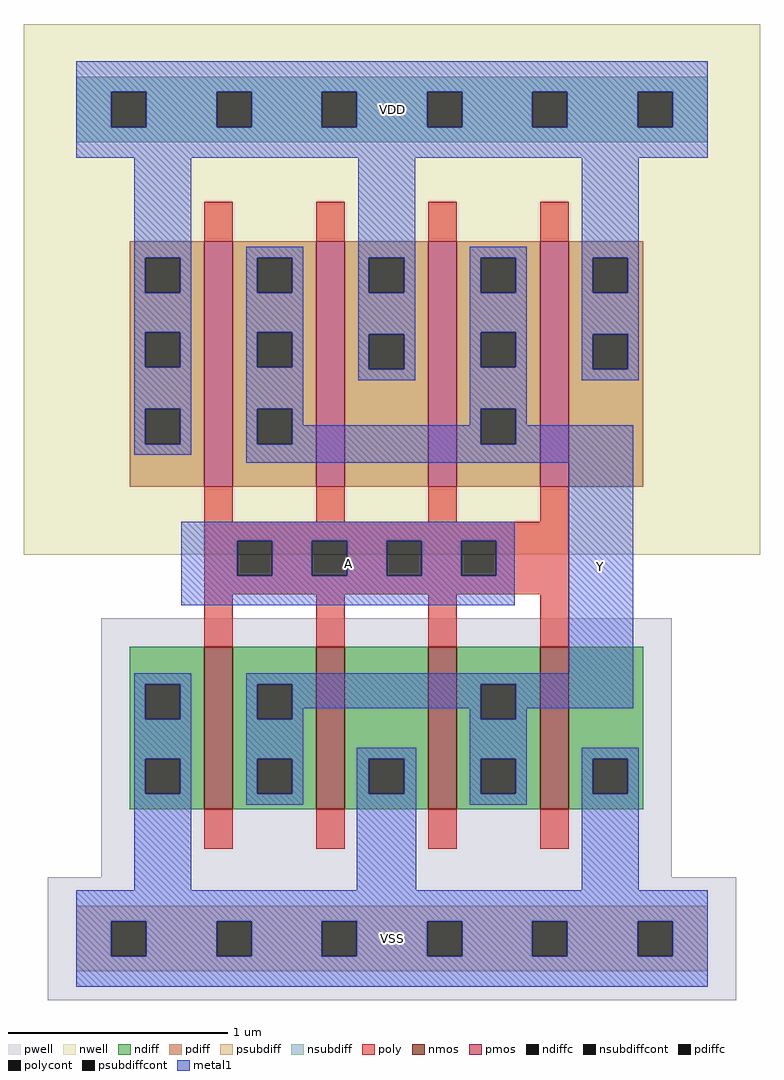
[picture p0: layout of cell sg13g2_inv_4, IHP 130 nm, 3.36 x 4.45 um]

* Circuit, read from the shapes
.subckt sg13g2_inv_4 A VDD Y VSS
XM1 Y A VSS VSS sg13_lv_nmos w=0.74u l=0.13u m=4
XM2 Y A VDD VDD sg13_lv_pmos w=1.12u l=0.13u m=4
.ends

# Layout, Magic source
magic
tech ihp-sg13g2
magscale 1 2
<< nwell >>
rect -48 350 624 834
<< pwell >>
rect 23 56 543 292
rect -26 -56 602 56
<< nmos >>
rect 117 118 143 266
rect 219 118 245 266
rect 321 118 347 266
rect 423 118 449 266
<< pmos >>
rect 117 412 143 636
rect 219 412 245 636
rect 321 412 347 636
rect 423 412 449 636
<< ndiff >>
rect 49 232 117 266
rect 49 200 63 232
rect 95 200 117 232
rect 49 164 117 200
rect 49 132 63 164
rect 95 132 117 164
rect 49 118 117 132
rect 143 232 219 266
rect 143 200 165 232
rect 197 200 219 232
rect 143 164 219 200
rect 143 132 165 164
rect 197 132 219 164
rect 143 118 219 132
rect 245 164 321 266
rect 245 132 267 164
rect 299 132 321 164
rect 245 118 321 132
rect 347 232 423 266
rect 347 200 369 232
rect 401 200 423 232
rect 347 164 423 200
rect 347 132 369 164
rect 401 132 423 164
rect 347 118 423 132
rect 449 164 517 266
rect 449 132 471 164
rect 503 132 517 164
rect 449 118 517 132
<< pdiff >>
rect 49 621 117 636
rect 49 589 63 621
rect 95 589 117 621
rect 49 553 117 589
rect 49 521 63 553
rect 95 521 117 553
rect 49 483 117 521
rect 49 451 63 483
rect 95 451 117 483
rect 49 412 117 451
rect 143 621 219 636
rect 143 589 165 621
rect 197 589 219 621
rect 143 553 219 589
rect 143 521 165 553
rect 197 521 219 553
rect 143 483 219 521
rect 143 451 165 483
rect 197 451 219 483
rect 143 412 219 451
rect 245 621 321 636
rect 245 589 267 621
rect 299 589 321 621
rect 245 551 321 589
rect 245 519 267 551
rect 299 519 321 551
rect 245 412 321 519
rect 347 621 423 636
rect 347 589 369 621
rect 401 589 423 621
rect 347 553 423 589
rect 347 521 369 553
rect 401 521 423 553
rect 347 483 423 521
rect 347 451 369 483
rect 401 451 423 483
rect 347 412 423 451
rect 449 621 517 636
rect 449 589 471 621
rect 503 589 517 621
rect 449 551 517 589
rect 449 519 471 551
rect 503 519 517 551
rect 449 412 517 519
<< ndiffc >>
rect 63 200 95 232
rect 63 132 95 164
rect 165 200 197 232
rect 165 132 197 164
rect 267 132 299 164
rect 369 200 401 232
rect 369 132 401 164
rect 471 132 503 164
<< pdiffc >>
rect 63 589 95 621
rect 63 521 95 553
rect 63 451 95 483
rect 165 589 197 621
rect 165 521 197 553
rect 165 451 197 483
rect 267 589 299 621
rect 267 519 299 551
rect 369 589 401 621
rect 369 521 401 553
rect 369 451 401 483
rect 471 589 503 621
rect 471 519 503 551
<< psubdiff >>
rect 0 16 576 30
rect 0 -16 32 16
rect 64 -16 128 16
rect 160 -16 224 16
rect 256 -16 320 16
rect 352 -16 416 16
rect 448 -16 512 16
rect 544 -16 576 16
rect 0 -30 576 -16
<< nsubdiff >>
rect 0 772 576 786
rect 0 740 32 772
rect 64 740 128 772
rect 160 740 224 772
rect 256 740 320 772
rect 352 740 416 772
rect 448 740 512 772
rect 544 740 576 772
rect 0 726 576 740
<< psubdiffcont >>
rect 32 -16 64 16
rect 128 -16 160 16
rect 224 -16 256 16
rect 320 -16 352 16
rect 416 -16 448 16
rect 512 -16 544 16
<< nsubdiffcont >>
rect 32 740 64 772
rect 128 740 160 772
rect 224 740 256 772
rect 320 740 352 772
rect 416 740 448 772
rect 512 740 544 772
<< poly >>
rect 117 636 143 672
rect 219 636 245 672
rect 321 636 347 672
rect 423 636 449 672
rect 117 380 143 412
rect 219 380 245 412
rect 321 380 347 412
rect 423 380 449 412
rect 117 363 449 380
rect 117 331 147 363
rect 179 331 215 363
rect 247 331 283 363
rect 315 331 351 363
rect 383 331 449 363
rect 117 314 449 331
rect 117 266 143 314
rect 219 266 245 314
rect 321 266 347 314
rect 423 266 449 314
rect 117 82 143 118
rect 219 82 245 118
rect 321 82 347 118
rect 423 82 449 118
<< polycont >>
rect 147 331 179 363
rect 215 331 247 363
rect 283 331 315 363
rect 351 331 383 363
<< metal1 >>
rect 0 772 576 800
rect 0 740 32 772
rect 64 740 128 772
rect 160 740 224 772
rect 256 740 320 772
rect 352 740 416 772
rect 448 740 512 772
rect 544 740 576 772
rect 0 712 576 740
rect 53 621 105 712
rect 53 589 63 621
rect 95 589 105 621
rect 53 553 105 589
rect 53 521 63 553
rect 95 521 105 553
rect 53 483 105 521
rect 53 451 63 483
rect 95 451 105 483
rect 53 441 105 451
rect 155 621 207 631
rect 155 589 165 621
rect 197 589 207 621
rect 155 553 207 589
rect 155 521 165 553
rect 197 521 207 553
rect 155 483 207 521
rect 257 621 309 712
rect 257 589 267 621
rect 299 589 309 621
rect 257 551 309 589
rect 257 519 267 551
rect 299 519 309 551
rect 257 509 309 519
rect 359 621 411 631
rect 359 589 369 621
rect 401 589 411 621
rect 359 553 411 589
rect 359 521 369 553
rect 401 521 411 553
rect 155 451 165 483
rect 197 468 207 483
rect 359 483 411 521
rect 461 621 513 712
rect 461 589 471 621
rect 503 589 513 621
rect 461 551 513 589
rect 461 519 471 551
rect 503 519 513 551
rect 461 509 513 519
rect 359 468 369 483
rect 197 451 369 468
rect 401 468 411 483
rect 401 451 508 468
rect 155 434 508 451
rect 96 363 400 380
rect 96 331 147 363
rect 179 331 215 363
rect 247 331 283 363
rect 315 331 351 363
rect 383 331 400 363
rect 96 304 400 331
rect 449 242 508 434
rect 53 232 105 242
rect 53 200 63 232
rect 95 200 105 232
rect 53 164 105 200
rect 53 132 63 164
rect 95 132 105 164
rect 53 44 105 132
rect 155 232 508 242
rect 155 200 165 232
rect 197 210 369 232
rect 197 200 207 210
rect 155 164 207 200
rect 359 200 369 210
rect 401 210 508 232
rect 401 200 411 210
rect 155 132 165 164
rect 197 132 207 164
rect 155 122 207 132
rect 256 164 310 174
rect 256 132 267 164
rect 299 132 310 164
rect 256 44 310 132
rect 359 164 411 200
rect 359 132 369 164
rect 401 132 411 164
rect 359 122 411 132
rect 461 164 513 174
rect 461 132 471 164
rect 503 132 513 164
rect 461 44 513 132
rect 0 16 576 44
rect 0 -16 32 16
rect 64 -16 128 16
rect 160 -16 224 16
rect 256 -16 320 16
rect 352 -16 416 16
rect 448 -16 512 16
rect 544 -16 576 16
rect 0 -44 576 -16
<< labels >>
flabel metal1 s 96 304 400 380 0 FreeSans 400 0 0 0 A
port 2 nsew
flabel metal1 s 0 712 576 800 0 FreeSans 400 0 0 0 VDD
port 3 nsew
flabel metal1 s 449 210 508 468 0 FreeSans 400 0 0 0 Y
port 4 nsew
flabel metal1 s 0 -44 576 44 0 FreeSans 400 0 0 0 VSS
port 5 nsew
<< properties >>
string FIXED_BBOX 0 0 576 756
string GDS_END 328610
string GDS_FILE sg13g2_stdcell.gds
string GDS_START 323594
<< end >>
